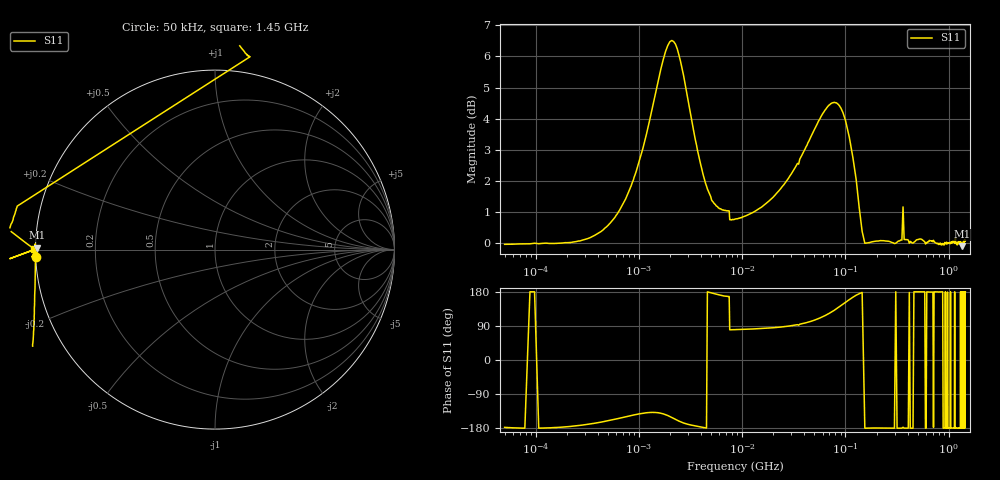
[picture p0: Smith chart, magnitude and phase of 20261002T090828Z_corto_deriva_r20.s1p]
! piloto_deriva / corto_deriva / r20
# HZ S RI R 50
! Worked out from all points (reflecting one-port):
!   501 points, 50 kHz to 1.45 GHz, reference 50 ohm
!   lowest |S11| = -0.1 dB at 1.337 GHz (marker M1), VSWR 201.27, Z = 0.248 + j0.281 ohm
!   phase of S11 starts at -178 deg and turns -2 deg over the sweep
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50000  -0.9962 -0.0387
183000  -1 -0.0514
363500  -1.003 -0.2249
658000  -1.014 -0.5115
1180000  -1.133 -0.9755
1630000  -1.471 -1.21
1990000  -1.807 -1.08
2170000  -1.897 -0.9167
2440000  -1.898 -0.644
3070000  -1.634 -0.2699
4330000  -1.263 -0.0298
7300000  -1.102 0.2418
7750000  0.1937 1.075
8560000  0.1874 1.078
1.9e7  0.1084 1.172
3.16e7  -0.0357 1.312
4.69e7  -0.3227 1.455
6.76e7  -0.8605 1.419
7.93e7  -1.14 1.237
9.37e7  -1.355 0.9
9.82e7  -1.383 0.7846
1e8  -1.391 0.7387
1.18e8  -1.331 0.3389
1.36e8  -1.135 0.1
1.63e8  -1.002 -0.00424
4.06e8  -1.013 -0.00473
1.3375e9  -0.99 0.0111
1.45e9  -1.01 0.00265
